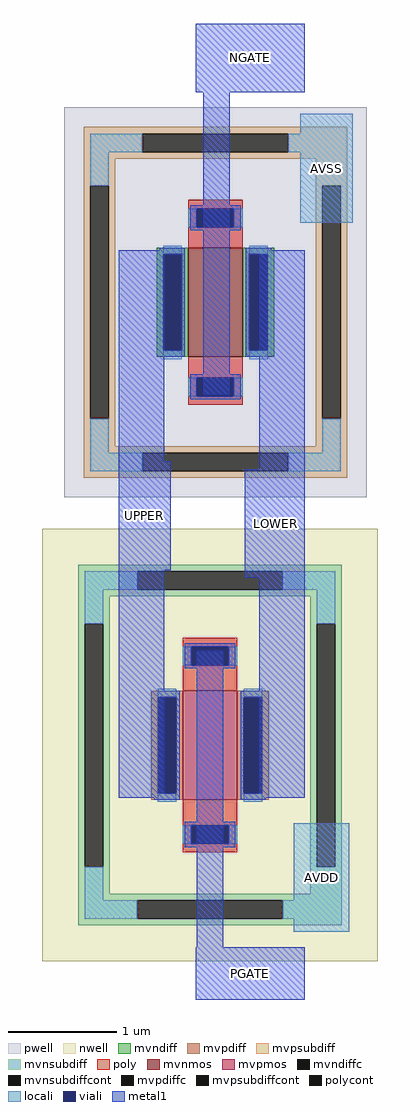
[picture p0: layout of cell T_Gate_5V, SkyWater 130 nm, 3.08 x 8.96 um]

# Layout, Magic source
magic
tech sky130A
magscale 1 2
<< locali >>
rect 896 -500 992 -300
rect 884 -1802 986 -1602
<< metal1 >>
rect 704 -260 904 -134
rect 562 -938 646 -550
rect 718 -816 766 -260
rect 562 -1138 658 -938
rect 820 -952 904 -550
rect 562 -1556 646 -1138
rect 794 -1152 904 -952
rect 706 -1830 754 -1286
rect 820 -1556 904 -1152
rect 704 -1926 904 -1830
use sky130_fd_pr__nfet_g5v0d10v5_92HZNS  XM1 paramcells
transform 1 0 740 0 1 -646
box -278 -358 278 358
use sky130_fd_pr__pfet_g5v0d10v5_TUFYNQ  XM2 paramcells
transform 1 0 730 0 1 -1459
box -308 -397 308 397
<< labels >>
flabel metal1 704 -260 904 -134 0 FreeSans 256 0 0 0 NGATE
port 2 nsew
flabel metal1 704 -1926 904 -1830 0 FreeSans 256 0 0 0 PGATE
port 1 nsew
flabel metal1 796 -1152 904 -952 0 FreeSans 256 0 0 0 LOWER
port 3 nsew
flabel metal1 562 -1138 656 -938 0 FreeSans 256 0 0 0 UPPER
port 0 nsew
flabel locali 884 -1802 986 -1602 0 FreeSans 256 0 0 0 AVDD
port 5 nsew
flabel locali 896 -500 992 -300 0 FreeSans 256 0 0 0 AVSS
port 4 nsew
<< end >>

# cell sky130_fd_pr__nfet_g5v0d10v5_92HZNS: kit device sky130_fd_pr__nfet_g5v0d10v5, w 1.0 l 0.5 m 1 nf 1 diffcov 100 polycov 100 guard 1 glc 1 grc 1 gtc 1 gbc 1 tbcov 100 rlcov 100 topc 1 botc 1 poverlap 0 doverlap 1 lmin 0.50 wmin 0.42 class mosfet compatible {sky130_fd_pr__nfet_01v8 sky130_fd_pr__nfet_01v8_lvt sky130_fd_bs_flash__special_sonosfet_star sky130_fd_pr__nfet_g5v0d10v5 sky130_fd_pr__nfet_05v0_nvt sky130_fd_pr__nfet_03v3_nvt} full_metal 1 viasrc 100 viadrn 100 viagate 100 viagb 0 viagr 0 viagl 0 viagt 0 ad {int((nf+1)/2) * W/nf * 0.29} as {int((nf+2)/2) * W/nf * 0.29} pd {2*int((nf+1)/2) * (W/nf + 0.29)} ps {2*int((nf+2)/2) * (W/nf + 0.29)} nrd {0.29 / W} nrs {0.29 / W} sa 0 sb 0 sd 0 mult 1

# cell sky130_fd_pr__pfet_g5v0d10v5_TUFYNQ: kit device sky130_fd_pr__pfet_g5v0d10v5, w 1.0 l 0.5 m 1 nf 1 diffcov 100 polycov 100 guard 1 glc 1 grc 1 gtc 1 gbc 1 tbcov 100 rlcov 100 topc 1 botc 1 poverlap 0 doverlap 1 lmin 0.50 wmin 0.42 class mosfet compatible {sky130_fd_pr__pfet_01v8 sky130_fd_pr__pfet_01v8_lvt sky130_fd_pr__pfet_01v8_hvt sky130_fd_pr__pfet_g5v0d10v5} full_metal 1 viasrc 100 viadrn 100 viagate 100 viagb 0 viagr 0 viagl 0 viagt 0 ad {int((nf+1)/2) * W/nf * 0.29} as {int((nf+2)/2) * W/nf * 0.29} pd {2*int((nf+1)/2) * (W/nf + 0.29)} ps {2*int((nf+2)/2) * (W/nf + 0.29)} nrd {0.29 / W} nrs {0.29 / W} sa 0 sb 0 sd 0 mult 1
